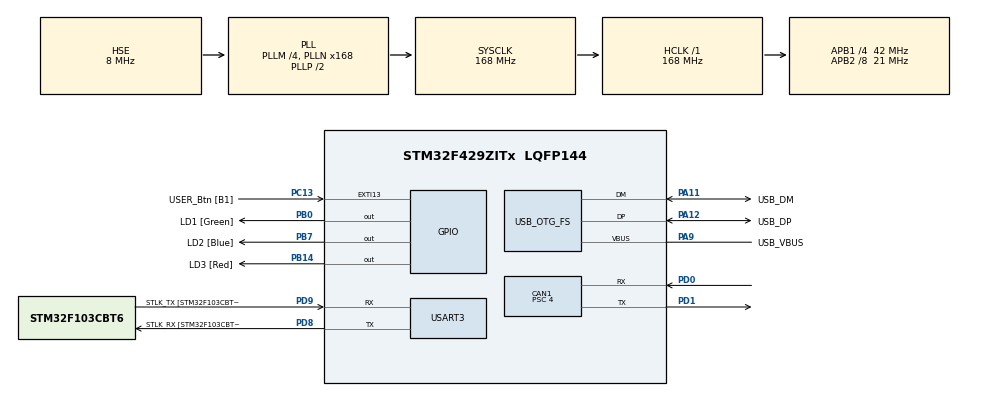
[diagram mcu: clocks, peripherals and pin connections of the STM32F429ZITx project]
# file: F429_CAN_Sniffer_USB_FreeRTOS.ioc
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CAN1.ABOM=ENABLE
CAN1.BS1=CAN_BS1_15TQ
CAN1.BS2=CAN_BS2_5TQ
CAN1.CalculateBaudRate=500000
CAN1.CalculateTimeBit=2000
CAN1.CalculateTimeQuantum=95.23809523809524
CAN1.Mode=CAN_MODE_NORMAL
CAN1.NART=DISABLE
CAN1.Prescaler=4
CAN1.TXFP=DISABLE
FREERTOS.Tasks01=defaultTask,0,128,StartDefaultTask,Default,NULL,Dynamic,NULL,NULL;usbCdc,0,256,usbCdcTask,Default,NULL,Dynamic,NULL,NULL;canTx,0,256,canTxTask,Default,NULL,Dynamic,NULL,NULL
FREERTOS.configUSE_NEWLIB_REENTRANT=1
Mcu.Family=STM32F4
Mcu.Name=STM32F429ZITx
Mcu.Package=LQFP144
NVIC.CAN1_RX0_IRQn=true\:5\:0\:false\:false\:true\:true\:true\:true\:true
NVIC.CAN1_RX1_IRQn=true\:5\:0\:false\:false\:true\:true\:true\:true\:true
NVIC.CAN1_SCE_IRQn=true\:5\:0\:false\:false\:true\:true\:true\:true\:true
NVIC.CAN1_TX_IRQn=true\:5\:0\:false\:false\:true\:true\:true\:true\:true
NVIC.OTG_FS_IRQn=true\:5\:0\:false\:false\:true\:true\:true\:true\:true
NVIC.PriorityGroup=NVIC_PRIORITYGROUP_4
NVIC.TIM6_DAC_IRQn=true\:15\:0\:false\:false\:true\:false\:false\:true\:true
NVIC.TimeBase=TIM6_DAC_IRQn
NVIC.TimeBaseIP=TIM6
PA11.GPIO_Label=USB_DM
PA11.Mode=Device_Only
PA11.Signal=USB_OTG_FS_DM
PA12.GPIO_Label=USB_DP
PA12.Mode=Device_Only
PA12.Signal=USB_OTG_FS_DP
PA13.GPIO_Label=TMS
PA13.Mode=Trace_Asynchronous_SW
PA13.Signal=SYS_JTMS-SWDIO
PA14.GPIO_Label=TCK
PA14.Mode=Trace_Asynchronous_SW
PA14.Signal=SYS_JTCK-SWCLK
PA9.GPIO_Label=USB_VBUS
PA9.Mode=Activate_VBUS
PA9.Signal=USB_OTG_FS_VBUS
PB0.GPIO_Label=LD1 [Green]
PB0.Signal=GPIO_Output
PB14.GPIO_Label=LD3 [Red]
PB14.Signal=GPIO_Output
PB3.Mode=Trace_Asynchronous_SW
PB3.Signal=SYS_JTDO-SWO
PB7.GPIO_Label=LD2 [Blue]
PB7.Signal=GPIO_Output
PC13.GPIO_Label=USER_Btn [B1]
PC13.Signal=GPXTI13
PC14/OSC32_IN.Mode=LSE-External-Oscillator
PC14/OSC32_IN.Signal=RCC_OSC32_IN
PC15/OSC32_OUT.Mode=LSE-External-Oscillator
PC15/OSC32_OUT.Signal=RCC_OSC32_OUT
PD0.Mode=CAN_Activate
PD0.Signal=CAN1_RX
PD1.Mode=CAN_Activate
PD1.Signal=CAN1_TX
PD8.GPIO_Label=STLK_RX [STM32F103CBT6_PA3]
PD8.Mode=Asynchronous
PD8.Signal=USART3_TX
PD9.GPIO_Label=STLK_TX [STM32F103CBT6_PA2]
PD9.Mode=Asynchronous
PD9.Signal=USART3_RX
PH0/OSC_IN.GPIO_Label=MCO [STM32F103CBT6_PA8]
PH0/OSC_IN.Mode=HSE-External-Clock-Source
PH0/OSC_IN.Signal=RCC_OSC_IN
PH1/OSC_OUT.Mode=HSE-External-Clock-Source
PH1/OSC_OUT.Signal=RCC_OSC_OUT
ProjectManager.HeapSize=0x2000
ProjectManager.StackSize=0x4000
ProjectManager.TargetToolchain=STM32CubeIDE
RCC.48MHZClocksFreq_Value=48000000
RCC.AHBFreq_Value=168000000
RCC.APB1CLKDivider=RCC_HCLK_DIV4
RCC.APB1Freq_Value=42000000
RCC.APB1TimFreq_Value=84000000
RCC.APB2CLKDivider=RCC_HCLK_DIV8
RCC.APB2Freq_Value=21000000
RCC.APB2TimFreq_Value=42000000
RCC.CortexFreq_Value=168000000
RCC.HCLKFreq_Value=168000000
RCC.HSE_VALUE=8000000
RCC.HSI_VALUE=16000000
RCC.PLLM=4
RCC.PLLMUL=RCC_PLL_MUL9
RCC.PLLN=168
RCC.PLLQ=7
RCC.PRESCALERUSB=RCC_USBCLKSOURCE_PLL_DIV1_5
RCC.SYSCLKFreq_VALUE=168000000
RCC.SYSCLKSource=RCC_SYSCLKSOURCE_PLLCLK
RCC.SYSCLKSourceVirtual=RCC_SYSCLKSOURCE_PLLCLK
RCC.USBFreq_Value=48000000
RCC.VCOOutputFreq_Value=336000000
TIM1.Period=59999
TIM1.Prescaler=41999
USART3.VirtualMode=VM_ASYNC
USB_DEVICE.CLASS_NAME_FS=CDC
USB_DEVICE.VirtualMode-CDC_FS=Cdc
USB_DEVICE.VirtualModeFS=Cdc_FS
USB_OTG_FS.VirtualMode=Device_Only
VP_FREERTOS_VS_CMSIS_V1.Mode=CMSIS_V1
VP_SYS_VS_tim6.Mode=TIM6
VP_TIM1_VS_ClockSourceINT.Mode=Internal
VP_USB_DEVICE_VS_USB_DEVICE_CDC_FS.Mode=CDC_FS
board=NUCLEO-F429ZI

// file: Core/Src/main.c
/* USER CODE BEGIN Header */
/**
  ******************************************************************************
  * @file           : main.c
  * @brief          : Main program body
  ******************************************************************************
  * @attention
  *
  * Copyright (c) 2021 STMicroelectronics.
  * All rights reserved.
  *
  * This software is licensed under terms that can be found in the LICENSE file
  * in the root directory of this software component.
  * If no LICENSE file comes with this software, it is provided AS-IS.
  *
  ******************************************************************************
  */
/* USER CODE END Header */
#include "main.h"
#include "cmsis_os.h"
#include "usb_device.h"

/* USER CODE BEGIN Includes */
#include "usbd_cdc_if.h"
#include "string.h"
#include "stdio.h"
/* USER CODE END Includes */

/* USER CODE BEGIN PD */
#define MAIL_SIZE 32
/* USER CODE END PD */

 CAN_HandleTypeDef hcan1;

TIM_HandleTypeDef htim1;

UART_HandleTypeDef huart3;

osThreadId defaultTaskHandle;
osThreadId usbCdcHandle;
osThreadId canTxHandle;
/* USER CODE BEGIN PV */
CAN_TxHeaderTypeDef   TxHeader;
CAN_RxHeaderTypeDef   RxHeader;
uint8_t               TxData[8];
uint8_t               RxData[8];
uint32_t              TxMailbox;
canRxMessage canRxMsg;

osMailQId canRxQueueHandle;
osMailQId canTxQueueHandle;
extern USBD_HandleTypeDef hUsbDeviceFS;
/* USER CODE END PV */

void SystemClock_Config(void);
static void MX_GPIO_Init(void);
static void MX_USART3_UART_Init(void);
static void MX_CAN1_Init(void);
static void MX_TIM1_Init(void);
void StartDefaultTask(void const * argument);
void usbCdcTask(void const * argument);
void canTxTask(void const * argument);

int main(void)
{

  /* MCU Configuration--------------------------------------------------------*/

  /* Reset of all peripherals, Initializes the Flash interface and the Systick. */
  HAL_Init();

  /* Configure the system clock */
  SystemClock_Config();

  /* Initialize all configured peripherals */
  MX_GPIO_Init();
  MX_USART3_UART_Init();
  MX_CAN1_Init();
  MX_TIM1_Init();
  /* USER CODE BEGIN 2 */
  CAN_FilterTypeDef  sFilterConfig;

  sFilterConfig.FilterBank = 0;
  sFilterConfig.FilterMode = CAN_FILTERMODE_IDMASK;
  sFilterConfig.FilterScale = CAN_FILTERSCALE_32BIT;
  sFilterConfig.FilterIdHigh = 0x0000;
  sFilterConfig.FilterIdLow = 0x0000;
  sFilterConfig.FilterMaskIdHigh = 0x0000;
  sFilterConfig.FilterMaskIdLow = 0x0000;
  sFilterConfig.FilterFIFOAssignment = CAN_RX_FIFO0;
  sFilterConfig.FilterActivation = ENABLE;
  sFilterConfig.SlaveStartFilterBank = 14;

  if (HAL_CAN_ConfigFilter(&hcan1, &sFilterConfig) != HAL_OK){
	  Error_Handler();
  }

  HAL_CAN_Start(&hcan1);
  HAL_CAN_ActivateNotification(&hcan1, CAN_IT_RX_FIFO0_MSG_PENDING| CAN_IT_TX_MAILBOX_EMPTY | CAN_IT_ERROR | CAN_IT_BUSOFF | CAN_IT_LAST_ERROR_CODE);

  HAL_TIM_Base_Start(&htim1);
  /* USER CODE END 2 */

  /* USER CODE BEGIN RTOS_QUEUES */
	osMailQDef(canRxQ, MAIL_SIZE, canRxMessage);
	canRxQueueHandle = osMailCreate(osMailQ(canRxQ), NULL);
	osMailQDef(canTxQ, MAIL_SIZE, canRxMessage);
	canRxQueueHandle = osMailCreate(osMailQ(canTxQ), NULL);
  /* add queues, ... */
  /* USER CODE END RTOS_QUEUES */

  /* Create the thread(s) */
  /* definition and creation of defaultTask */
  osThreadDef(defaultTask, StartDefaultTask, osPriorityNormal, 0, 128);
  defaultTaskHandle = osThreadCreate(osThread(defaultTask), NULL);

  /* definition and creation of usbCdc */
  osThreadDef(usbCdc, usbCdcTask, osPriorityNormal, 0, 256);
  usbCdcHandle = osThreadCreate(osThread(usbCdc), NULL);

  /* definition and creation of canTx */
  osThreadDef(canTx, canTxTask, osPriorityNormal, 0, 256);
  canTxHandle = osThreadCreate(osThread(canTx), NULL);

  /* Start scheduler */
  osKernelStart();

  /* We should never get here as control is now taken by the scheduler */
  /* Infinite loop */
  while (1)
  {

  }
}

void SystemClock_Config(void)
{
  RCC_OscInitTypeDef RCC_OscInitStruct = {0};
  RCC_ClkInitTypeDef RCC_ClkInitStruct = {0};

  /** Configure the main internal regulator output voltage
  */
  __HAL_RCC_PWR_CLK_ENABLE();
  __HAL_PWR_VOLTAGESCALING_CONFIG(PWR_REGULATOR_VOLTAGE_SCALE1);

  /** Initializes the RCC Oscillators according to the specified parameters
  * in the RCC_OscInitTypeDef structure.
  */
  RCC_OscInitStruct.OscillatorType = RCC_OSCILLATORTYPE_HSE;
  RCC_OscInitStruct.HSEState = RCC_HSE_BYPASS;
  RCC_OscInitStruct.PLL.PLLState = RCC_PLL_ON;
  RCC_OscInitStruct.PLL.PLLSource = RCC_PLLSOURCE_HSE;
  RCC_OscInitStruct.PLL.PLLM = 4;
  RCC_OscInitStruct.PLL.PLLN = 168;
  RCC_OscInitStruct.PLL.PLLP = RCC_PLLP_DIV2;
  RCC_OscInitStruct.PLL.PLLQ = 7;
  if (HAL_RCC_OscConfig(&RCC_OscInitStruct) != HAL_OK)
  {
    Error_Handler();
  }

  /** Initializes the CPU, AHB and APB buses clocks
  */
  RCC_ClkInitStruct.ClockType = RCC_CLOCKTYPE_HCLK|RCC_CLOCKTYPE_SYSCLK
                              |RCC_CLOCKTYPE_PCLK1|RCC_CLOCKTYPE_PCLK2;
  RCC_ClkInitStruct.SYSCLKSource = RCC_SYSCLKSOURCE_PLLCLK;
  RCC_ClkInitStruct.AHBCLKDivider = RCC_SYSCLK_DIV1;
  RCC_ClkInitStruct.APB1CLKDivider = RCC_HCLK_DIV4;
  RCC_ClkInitStruct.APB2CLKDivider = RCC_HCLK_DIV8;

  if (HAL_RCC_ClockConfig(&RCC_ClkInitStruct, FLASH_LATENCY_5) != HAL_OK)
  {
    Error_Handler();
  }
}

static void MX_CAN1_Init(void)
{

  hcan1.Instance = CAN1;
  hcan1.Init.Prescaler = 4;
  hcan1.Init.Mode = CAN_MODE_NORMAL;
  hcan1.Init.SyncJumpWidth = CAN_SJW_1TQ;
  hcan1.Init.TimeSeg1 = CAN_BS1_15TQ;
  hcan1.Init.TimeSeg2 = CAN_BS2_5TQ;
  hcan1.Init.TimeTriggeredMode = DISABLE;
  hcan1.Init.AutoBusOff = ENABLE;
  hcan1.Init.AutoWakeUp = DISABLE;
  hcan1.Init.AutoRetransmission = DISABLE;
  hcan1.Init.ReceiveFifoLocked = DISABLE;
  hcan1.Init.TransmitFifoPriority = DISABLE;
  if (HAL_CAN_Init(&hcan1) != HAL_OK)
  {
    Error_Handler();
  }

}

static void MX_TIM1_Init(void)
{

  TIM_ClockConfigTypeDef sClockSourceConfig = {0};
  TIM_MasterConfigTypeDef sMasterConfig = {0};

  htim1.Instance = TIM1;
  htim1.Init.Prescaler = 41999;
  htim1.Init.CounterMode = TIM_COUNTERMODE_UP;
  htim1.Init.Period = 59999;
  htim1.Init.ClockDivision = TIM_CLOCKDIVISION_DIV1;
  htim1.Init.RepetitionCounter = 0;
  htim1.Init.AutoReloadPreload = TIM_AUTORELOAD_PRELOAD_DISABLE;
  if (HAL_TIM_Base_Init(&htim1) != HAL_OK)
  {
    Error_Handler();
  }
  sClockSourceConfig.ClockSource = TIM_CLOCKSOURCE_INTERNAL;
  if (HAL_TIM_ConfigClockSource(&htim1, &sClockSourceConfig) != HAL_OK)
  {
    Error_Handler();
  }
  sMasterConfig.MasterOutputTrigger = TIM_TRGO_RESET;
  sMasterConfig.MasterSlaveMode = TIM_MASTERSLAVEMODE_DISABLE;
  if (HAL_TIMEx_MasterConfigSynchronization(&htim1, &sMasterConfig) != HAL_OK)
  {
    Error_Handler();
  }

}

static void MX_USART3_UART_Init(void)
{

  huart3.Instance = USART3;
  huart3.Init.BaudRate = 115200;
  huart3.Init.WordLength = UART_WORDLENGTH_8B;
  huart3.Init.StopBits = UART_STOPBITS_1;
  huart3.Init.Parity = UART_PARITY_NONE;
  huart3.Init.Mode = UART_MODE_TX_RX;
  huart3.Init.HwFlowCtl = UART_HWCONTROL_NONE;
  huart3.Init.OverSampling = UART_OVERSAMPLING_16;
  if (HAL_UART_Init(&huart3) != HAL_OK)
  {
    Error_Handler();
  }

}

static void MX_GPIO_Init(void)
{
  GPIO_InitTypeDef GPIO_InitStruct = {0};

  /* GPIO Ports Clock Enable */
  __HAL_RCC_GPIOC_CLK_ENABLE();
  __HAL_RCC_GPIOH_CLK_ENABLE();
  __HAL_RCC_GPIOB_CLK_ENABLE();
  __HAL_RCC_GPIOD_CLK_ENABLE();
  __HAL_RCC_GPIOA_CLK_ENABLE();

  /*Configure GPIO pin Output Level */
  HAL_GPIO_WritePin(GPIOB, LD1_Pin|LD3_Pin|LD2_Pin, GPIO_PIN_RESET);

  /*Configure GPIO pin : USER_Btn_Pin */
  GPIO_InitStruct.Pin = USER_Btn_Pin;
  GPIO_InitStruct.Mode = GPIO_MODE_IT_RISING;
  GPIO_InitStruct.Pull = GPIO_NOPULL;
  HAL_GPIO_Init(USER_Btn_GPIO_Port, &GPIO_InitStruct);

  /*Configure GPIO pins : LD1_Pin LD3_Pin LD2_Pin */
  GPIO_InitStruct.Pin = LD1_Pin|LD3_Pin|LD2_Pin;
  GPIO_InitStruct.Mode = GPIO_MODE_OUTPUT_PP;
  GPIO_InitStruct.Pull = GPIO_NOPULL;
  GPIO_InitStruct.Speed = GPIO_SPEED_FREQ_LOW;
  HAL_GPIO_Init(GPIOB, &GPIO_InitStruct);

}

/* USER CODE BEGIN 4 */
void HAL_CAN_RxFifo0MsgPendingCallback(CAN_HandleTypeDef *hcan) {

	canRxMessage *canMessage;
	HAL_GPIO_TogglePin(LD3_GPIO_Port, LD3_Pin);
	canMessage = osMailAlloc(canRxQueueHandle, 0);

	if (HAL_CAN_GetRxMessage(hcan, CAN_RX_FIFO0, &RxHeader, RxData) != HAL_OK) {
		Error_Handler();
	} else {
		canMessage->header = &RxHeader;
		canMessage->data = RxData;
		osMailPut(canRxQueueHandle, canMessage);
	}
}

void HAL_CAN_ErrorCallback(CAN_HandleTypeDef *hcan)
{
	uint32_t error;

	error = HAL_CAN_GetError(hcan);
	printf("Error # %8lX detected\r\n", error);
	HAL_CAN_ResetError(hcan);
}

int _write(int file, char *ptr, int len)
{
	int DataIdx;

	for (DataIdx = 0; DataIdx < len; DataIdx++)
	{
		ITM_SendChar(*ptr++);
	}
	return len;
}

void HAL_CAN_TxMailbox0CompleteCallback(CAN_HandleTypeDef *hcan)
{
	HAL_GPIO_TogglePin(LD1_GPIO_Port, LD1_Pin);
//	puts("Mailbox 0 TX complete\r\n");
}

void HAL_CAN_TxMailbox1CompleteCallback(CAN_HandleTypeDef *hcan)
{
	HAL_GPIO_TogglePin(LD1_GPIO_Port, LD1_Pin);
//	puts("Mailbox 1 TX complete\r\n");
}

void HAL_CAN_TxMailbox2CompleteCallback(CAN_HandleTypeDef *hcan)
{
	HAL_GPIO_TogglePin(LD1_GPIO_Port, LD1_Pin);
//	puts("Mailbox 2 TX complete\r\n");

}
/* USER CODE END 4 */

void StartDefaultTask(void const * argument)
{
  /* init code for USB_DEVICE */
  MX_USB_DEVICE_Init();
  for(;;)
  {
    osDelay(1);
  }
}

void usbCdcTask(void const * argument)
{
  /* USER CODE BEGIN usbCdcTask */
	osEvent event;
	canRxMessage *canMessage;
	uint8_t buf[100];
	uint8_t i = 0;;

	buf[0] = 0xAA; buf[1] = 0x55;
	buf[2] = 0xAA; buf[3] = 0x55;

  /* Infinite loop */
  for(;;)
  {
	event = osMailGet(canRxQueueHandle, osWaitForever);
		if (event.status == osEventMail){
			canMessage = event.value.p;

			i = 4;
			buf[i++] = (canMessage->header->StdId & 0x000000FF);
			buf[i++] = (canMessage->header->StdId & 0x0000FF00) >> 8;
			buf[i++] = (canMessage->header->StdId & 0x00FF0000) >> 16;
			buf[i++] = (canMessage->header->StdId & 0xFF000000) >> 24;
			buf[i++] = (uint8_t)(canMessage->header->DLC);
			for (i = 9; i < 17; i++) {
				buf[i] = canMessage->data[i-9];
			}

			USBD_CDC_SetTxBuffer(&hUsbDeviceFS, buf, 17);
			USBD_CDC_TransmitPacket(&hUsbDeviceFS);

			osMailFree(canRxQueueHandle, canMessage);
			osThreadYield();
		}
	  }

  /* USER CODE END usbCdcTask */
}

void canTxTask(void const * argument)
{
  for(;;)
  {
    osDelay(1);
  }
}

void HAL_TIM_PeriodElapsedCallback(TIM_HandleTypeDef *htim)
{
  if (htim->Instance == TIM6) {
    HAL_IncTick();
  }
}

void Error_Handler(void)
{
  __disable_irq();
  while (1)
  {
  }
}
